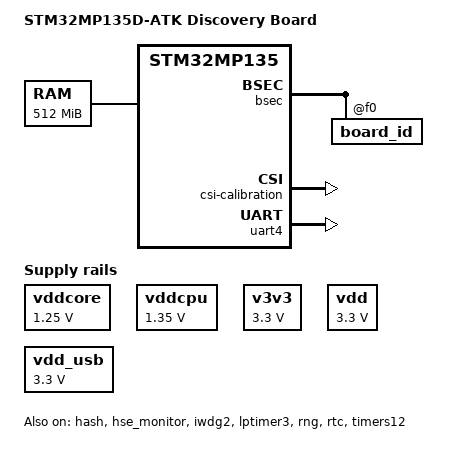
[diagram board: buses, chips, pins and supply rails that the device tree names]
// SPDX-License-Identifier: (GPL-2.0+ OR BSD-3-Clause)
/*
 * Copyright (C) STMicroelectronics 2022 - All Rights Reserved
 * Author: Alexandre Torgue <alexandre.torgue@foss.st.com> for STMicroelectronics.
 */

/dts-v1/;

#include <dt-bindings/clock/stm32mp13-clksrc.h>
#include <dt-bindings/gpio/gpio.h>
#include <dt-bindings/gpio/stm32mp_gpio.h>
#include <dt-bindings/power/stm32mp1-power.h>
#include <dt-bindings/rtc/rtc-stm32.h>
#include <dt-bindings/soc/stm32mp-tzc400-macro.h>
#include <dt-bindings/soc/stm32mp13-etzpc.h>
#include <dt-bindings/soc/stm32mp13-tzc400.h>
#include "stm32mp135.dtsi"
#include "stm32mp13xd.dtsi"
#include "stm32mp13-pinctrl-atk.dtsi"

/ {
	model = "STM32MP135D-ATK Discovery Board";
	compatible = "st,stm32mp135d-atk", "st,stm32mp135";

	aliases {
		serial0 = &uart4;
	};

	chosen {
		stdout-path = "serial0:115200n8";
	};

	memory@c0000000 {
		device_type = "memory";
		reg = <0xc0000000 0x20000000>;
	};

    reserved-memory {
		#address-cells = <1>;
		#size-cells = <1>;
		ranges;

		optee_framebuffer: optee-framebuffer@dd000000 {
				/* Secure framebuffer memory */
				reg = <0xdd000000 0x1000000>;
				st,protreg = <TZC_REGION_S_RDWR 0>;
		};
	};

	vddcore: vddcore {
        compatible = "regulator-fixed";
        regulator-name = "vddcore";
        regulator-min-microvolt = <1250000>;
        regulator-max-microvolt = <1250000>;
        regulator-off-in-suspend;
        regulator-always-on;
	};

	vddcpu: vddcpu {
		compatible = "regulator-fixed";
		regulator-name = "vddcpu";
		regulator-min-microvolt = <1350000>;
		regulator-max-microvolt = <1350000>;
        regulator-off-in-suspend;
        regulator-always-on;
	};	
	
	v3v3: v3v3 {
        compatible = "regulator-fixed";
        regulator-name = "v3v3";
        regulator-min-microvolt = <3300000>;
        regulator-max-microvolt = <3300000>;
        regulator-off-in-suspend;
        regulator-always-on;
    };

	vdd: vdd {
        compatible = "regulator-fixed";
        regulator-name = "vdd";
        regulator-min-microvolt = <3300000>;
        regulator-max-microvolt = <3300000>;
        regulator-off-in-suspend;
        regulator-always-on;
    };

	vdd_usb: vdd_usb {
        compatible = "regulator-fixed";
        regulator-name = "vdd_usb";
        regulator-min-microvolt = <3300000>;
        regulator-max-microvolt = <3300000>;
        regulator-off-in-suspend;
        regulator-always-on;
    };
};

&bsec {
	board_id: board_id@f0 {
		reg = <0xf0 0x4>;
		st,non-secure-otp;
	};
};

&clk_hse {
	st,digbypass;
};

&cpu0 {
	cpu-supply = <&vddcpu>;
};

&etzpc {
	st,decprot = <
		DECPROT(STM32MP1_ETZPC_ADC1_ID, DECPROT_NS_RW, DECPROT_UNLOCK)
		DECPROT(STM32MP1_ETZPC_ADC2_ID, DECPROT_NS_RW, DECPROT_UNLOCK)
		DECPROT(STM32MP1_ETZPC_BKPSRAM_ID, DECPROT_S_RW, DECPROT_UNLOCK)
		DECPROT(STM32MP1_ETZPC_DCMIPP_ID, DECPROT_NS_RW, DECPROT_UNLOCK)
		DECPROT(STM32MP1_ETZPC_DDRCTRLPHY_ID, DECPROT_NS_R_S_W, DECPROT_UNLOCK)
		DECPROT(STM32MP1_ETZPC_ETH1_ID, DECPROT_NS_RW, DECPROT_UNLOCK)
		DECPROT(STM32MP1_ETZPC_ETH2_ID, DECPROT_NS_RW, DECPROT_UNLOCK)
		DECPROT(STM32MP1_ETZPC_FMC_ID, DECPROT_NS_RW, DECPROT_UNLOCK)
		DECPROT(STM32MP1_ETZPC_HASH_ID, DECPROT_S_RW, DECPROT_UNLOCK)
		DECPROT(STM32MP1_ETZPC_I2C3_ID, DECPROT_NS_RW, DECPROT_UNLOCK)
		DECPROT(STM32MP1_ETZPC_I2C4_ID, DECPROT_S_RW, DECPROT_UNLOCK)
		DECPROT(STM32MP1_ETZPC_I2C5_ID, DECPROT_NS_RW, DECPROT_UNLOCK)
		DECPROT(STM32MP1_ETZPC_IWDG1_ID, DECPROT_S_RW, DECPROT_UNLOCK)
		DECPROT(STM32MP1_ETZPC_LPTIM2_ID, DECPROT_NS_RW, DECPROT_UNLOCK)
		DECPROT(STM32MP1_ETZPC_LPTIM3_ID, DECPROT_S_RW, DECPROT_UNLOCK)
		DECPROT(STM32MP1_ETZPC_LTDC_ID, DECPROT_NS_RW, DECPROT_UNLOCK)
		DECPROT(STM32MP1_ETZPC_MCE_ID, DECPROT_S_RW, DECPROT_UNLOCK)
		DECPROT(STM32MP1_ETZPC_OTG_ID, DECPROT_NS_RW, DECPROT_UNLOCK)
		DECPROT(STM32MP1_ETZPC_QSPI_ID, DECPROT_NS_RW, DECPROT_UNLOCK)
		DECPROT(STM32MP1_ETZPC_RNG_ID, DECPROT_S_RW, DECPROT_UNLOCK)
		DECPROT(STM32MP1_ETZPC_SDMMC1_ID, DECPROT_NS_RW, DECPROT_UNLOCK)
		DECPROT(STM32MP1_ETZPC_SDMMC2_ID, DECPROT_NS_RW, DECPROT_UNLOCK)
		DECPROT(STM32MP1_ETZPC_SPI4_ID, DECPROT_NS_RW, DECPROT_UNLOCK)
		DECPROT(STM32MP1_ETZPC_SPI5_ID, DECPROT_NS_RW, DECPROT_UNLOCK)
		DECPROT(STM32MP1_ETZPC_SRAM1_ID, DECPROT_NS_RW, DECPROT_UNLOCK)
		DECPROT(STM32MP1_ETZPC_SRAM2_ID, DECPROT_NS_RW, DECPROT_UNLOCK)
		DECPROT(STM32MP1_ETZPC_SRAM3_ID, DECPROT_S_RW, DECPROT_UNLOCK)
		DECPROT(STM32MP1_ETZPC_STGENC_ID, DECPROT_S_RW, DECPROT_UNLOCK)
		DECPROT(STM32MP1_ETZPC_TIM12_ID, DECPROT_S_RW, DECPROT_UNLOCK)
		DECPROT(STM32MP1_ETZPC_TIM13_ID, DECPROT_NS_RW, DECPROT_UNLOCK)
		DECPROT(STM32MP1_ETZPC_TIM14_ID, DECPROT_NS_RW, DECPROT_UNLOCK)
		DECPROT(STM32MP1_ETZPC_TIM15_ID, DECPROT_S_RW, DECPROT_UNLOCK)
		DECPROT(STM32MP1_ETZPC_TIM16_ID, DECPROT_NS_RW, DECPROT_UNLOCK)
		DECPROT(STM32MP1_ETZPC_TIM17_ID, DECPROT_NS_RW, DECPROT_UNLOCK)
		DECPROT(STM32MP1_ETZPC_USART1_ID, DECPROT_NS_RW, DECPROT_UNLOCK)
		DECPROT(STM32MP1_ETZPC_USART2_ID, DECPROT_NS_RW, DECPROT_UNLOCK)
		DECPROT(STM32MP1_ETZPC_USBPHYCTRL_ID, DECPROT_NS_RW, DECPROT_UNLOCK)
		DECPROT(STM32MP1_ETZPC_VREFBUF_ID, DECPROT_NS_RW, DECPROT_UNLOCK)
	>;
};

&hash {
	status = "okay";
};

&hse_monitor {
	status = "okay";
};

&iwdg2 {
	timeout-sec = <32>;
	secure-timeout-sec = <5>;
	status = "okay";
};

&lptimer3 {
	status = "okay";

	counter {
		status = "okay";
	};
};

&oem_enc_key {
	st,non-secure-otp-provisioning;
};

&osc_calibration {
	csi-calibration {
		status = "okay";
	};

	hsi-calibration {
		status = "okay";
	};
};

&pwr_regulators {
	system_suspend_supported_soc_modes = <
		STM32_PM_CSLEEP_RUN
		STM32_PM_CSTOP_ALLOW_LP_STOP
//		STM32_PM_CSTOP_ALLOW_LPLV_STOP
//		STM32_PM_CSTOP_ALLOW_LPLV_STOP2
//		STM32_PM_CSTOP_ALLOW_STANDBY_DDR_SR
	>;

	system_off_soc_mode = <STM32_PM_CSTOP_ALLOW_STANDBY_DDR_OFF>;
	vdd-supply = <&vdd>;
	vdd_3v3_usbfs-supply = <&vdd_usb>;
};

&rcc {
	compatible = "st,stm32mp13-rcc", "syscon";
	pinctrl-names = "default";

	st,clksrc = <
		CLK_MPU_PLL1P
		CLK_AXI_PLL2P
		CLK_MLAHBS_PLL3
		CLK_RTC_LSE
		CLK_MCO1_HSE
		CLK_MCO2_DISABLED
		CLK_CKPER_HSE
		CLK_ETH1_PLL4P
		CLK_ETH2_PLL4P
		CLK_SDMMC1_PLL4P
		CLK_SDMMC2_PLL4P
		CLK_STGEN_HSE
		CLK_USBPHY_HSE
		CLK_I2C4_HSI
		CLK_USBO_USBPHY
		CLK_ADC2_CKPER
		CLK_I2C12_HSI
		CLK_UART1_HSI
		CLK_UART2_HSI
		CLK_UART35_HSI
		CLK_UART4_HSI
		CLK_UART6_HSI
		CLK_UART78_HSI
		CLK_DCMIPP_PLL2Q
		CLK_LPTIM3_PCLK3
		CLK_RNG1_PLL4R
	>;

	st,clkdiv = <
		DIV(DIV_MPU, 1)
		DIV(DIV_AXI, 0)
		DIV(DIV_MLAHB, 0)
		DIV(DIV_APB1, 1)
		DIV(DIV_APB2, 1)
		DIV(DIV_APB3, 1)
		DIV(DIV_APB4, 1)
		DIV(DIV_APB5, 2)
		DIV(DIV_APB6, 1)
		DIV(DIV_RTC, 0)
		DIV(DIV_MCO1, 0)
		DIV(DIV_MCO2, 0)
	>;

	st,pll_vco {
		pll1_vco_2000Mhz: pll1-vco-2000Mhz {
			src = < CLK_PLL12_HSE >;
			divmn = < 1 82 >;
			frac = < 0xAAA >;
		};

		pll1_vco_1300Mhz: pll1-vco-1300Mhz {
			src = < CLK_PLL12_HSE >;
			divmn = < 2 80 >;
			frac = < 0x800 >;
		};

		pll2_vco_1066Mhz: pll2-vco-1066Mhz {
			src = < CLK_PLL12_HSE >;
			divmn = < 2 65 >;
			frac = < 0x1400 >;
		};

		pll3_vco_417_8Mhz: pll3-vco-417_8Mhz {
			src = < CLK_PLL3_HSE >;
			divmn = < 1 33 >;
			frac = < 0x1a04 >;
		};

		pll4_vco_600Mhz: pll4-vco-600Mhz {
			src = < CLK_PLL4_HSE >;
			divmn = < 1 49 >;
		};
	};

	/* VCO = 1300.0 MHz => P = 650 (CPU) */
	pll1:st,pll@0 {
		compatible = "st,stm32mp1-pll";
		reg = <0>;

		st,pll = < &pll1_cfg1 >;

		pll1_cfg1: pll1_cfg1 {
			st,pll_vco = < &pll1_vco_1300Mhz >;
			st,pll_div_pqr = < 0 1 1 >;
		};

		pll1_cfg2: pll1_cfg2 {
			st,pll_vco = < &pll1_vco_2000Mhz >;
			st,pll_div_pqr = < 0 1 1 >;
		};
	};

	/* VCO = 1066.0 MHz => P = 266 (AXI), Q = 266, R = 533 (DDR) */
	pll2:st,pll@1 {
		compatible = "st,stm32mp1-pll";
		reg = <1>;

		st,pll = < &pll2_cfg1 >;

		pll2_cfg1: pll2_cfg1 {
			st,pll_vco = < &pll2_vco_1066Mhz >;
			st,pll_div_pqr = < 1 1 0 >;
		};
	};

	/* VCO = 417.8 MHz => P = 209, Q = 24, R = 11 */
	pll3:st,pll@2 {
		compatible = "st,stm32mp1-pll";
		reg = <2>;

		st,pll = < &pll3_cfg1 >;

		pll3_cfg1: pll3_cfg1 {
			st,pll_vco = < &pll3_vco_417_8Mhz >;
			st,pll_div_pqr = < 1 16 36 >;
		};
	};

	/* VCO = 600.0 MHz => P = 50, Q = 10, R = 50 */
	pll4:st,pll@3 {
		compatible = "st,stm32mp1-pll";
		reg = <3>;
		st,pll = < &pll4_cfg1 >;

		pll4_cfg1: pll4_cfg1 {
			st,pll_vco = < &pll4_vco_600Mhz >;
			st,pll_div_pqr = < 11 59 11 >;
		};
	};

	st,clk_opp {
		/* CK_MPU clock config for MP13 */
		st,ck_mpu {

			cfg_1 {
				hz = < 1000000000 >;
				st,clksrc = < CLK_MPU_PLL1P >;
				st,pll = < &pll1_cfg2 >;
			};

			cfg_2 {
				hz = < 650000000 >;
				st,clksrc = < CLK_MPU_PLL1P >;
				st,pll = < &pll1_cfg1 >;
			};
		};
	};
};

&rng {
	status = "okay";
	clock-error-detect;
};

&rtc {
	status = "okay";
};

&timers12 {
	status = "okay";

	counter {
		status = "okay";
	};
};

&tzc400 {
	memory-region =	<&optee_framebuffer>;
};

&uart4 {
	pinctrl-names = "default";
	pinctrl-0 = <&uart4_pins_a>;
	status = "okay";
};
